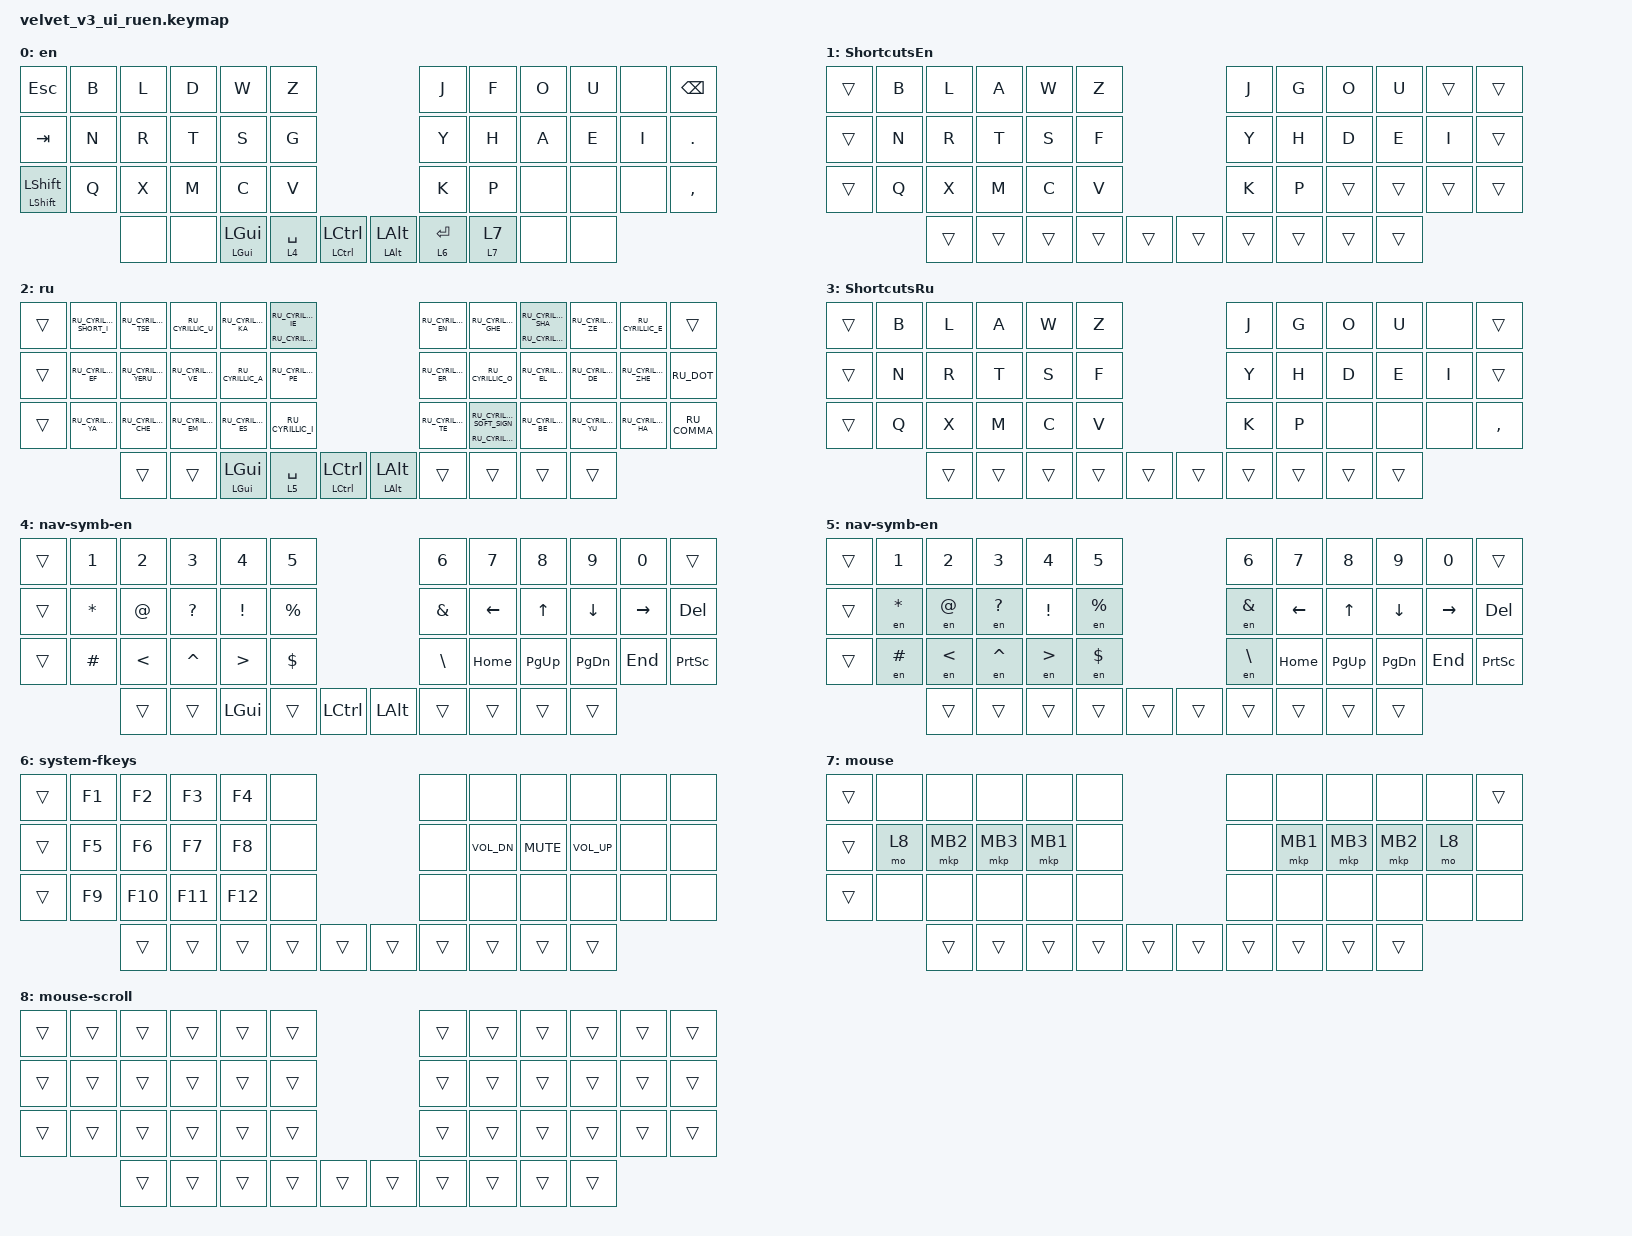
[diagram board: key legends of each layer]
#include "keys_ru.h"
#include <dt-bindings/zmk/input_transform.h>
#include <input/processors.dtsi>
#include <zephyr/dt-bindings/input/input-event-codes.h>
#include <behaviors.dtsi>
#include <dt-bindings/zmk/keys.h>
#include <dt-bindings/zmk/pointing.h>

&mt { flavor = "tap-preferred"; };

/ {
    behaviors {
        cap_sen: cap_sen {
            compatible = "zmk,behavior-hold-tap";
            label = "CAP_SEN";
            bindings = <&mo>, <&mo>;

            #binding-cells = <2>;
            tapping-term-ms = <150>;
            hold-while-undecided;
        };

        layer_off: layer_off {
            compatible = "zmk,behavior-toggle-layer";
            label = "LAYER_OFF";
            #binding-cells = <1>;
            toggle-mode = "off";
        };

        layer_on: layer_on {
            compatible = "zmk,behavior-toggle-layer";
            label = "LAYER_ON";
            #binding-cells = <1>;
        };

        key_on: key_on {
            compatible = "zmk,behavior-key-toggle";
            label = "KEY_ON";
            #binding-cells = <1>;
        };

        key_off: key_off {
            compatible = "zmk,behavior-key-toggle";
            label = "KEY_OFF";
            #binding-cells = <1>;
            toggle-mode = "off";
        };

        shrtct_ru: shrtct_ru {
            compatible = "zmk,behavior-hold-tap";
            label = "SHRTCT_RU";
            bindings = <&ml_ru>, <&sk_layer_ru>;

            #binding-cells = <2>;
            tapping-term-ms = <250>;
            require-prior-idle-ms = <20>;
            flavor = "balanced";
            hold-while-undecided;
        };

        shrtct_en: shrtct_en {
            compatible = "zmk,behavior-hold-tap";
            label = "SHRTCT_EN";
            bindings = <&ml_en>, <&sk_layer_en>;

            #binding-cells = <2>;
            tapping-term-ms = <250>;
            require-prior-idle-ms = <20>;
            flavor = "balanced";
            hold-while-undecided;
        };

        shft_stck: shft_stck {
            compatible = "zmk,behavior-sticky-key";
            label = "SHFT_STCK";
            bindings = <&kp>;
            #binding-cells = <1>;
            lazy;
            release-after-ms = <1000>;
            quick-release;
        };

        shift_dual: shift_dual {
            compatible = "zmk,behavior-hold-tap";
            label = "SHIFT_DUAL";
            bindings = <&kp>, <&shft_stck>;

            #binding-cells = <2>;
            tapping-term-ms = <150>;
            flavor = "tap-preferred";
        };

        sl_fast: sl_fast {
            compatible = "zmk,behavior-sticky-key";
            label = "SL_FAST";
            bindings = <&sl>;
            #binding-cells = <1>;
            release-after-ms = <150>;
            quick-release;
        };

        sk_fast: sk_fast {
            compatible = "zmk,behavior-sticky-key";
            label = "SK_FAST";
            bindings = <&kp>;
            #binding-cells = <1>;
            quick-release;
            release-after-ms = <150>;
        };
    };

    combos {
        compatible = "zmk,combos";

        Lang-En {
            bindings = <&layer_en>;
            key-positions = <2 3>;
            layers = <2>;
        };

        Lang-Ru {
            bindings = <&layer_ru>;
            key-positions = <2 3>;
            layers = <0>;
        };

        l-par {
            bindings = <&kp LPAR>;
            key-positions = <4 5>;
            layers = <0 1 2 3>;
        };

        r-par {
            bindings = <&kp RPAR>;
            key-positions = <7 6>;
            layers = <0 1 2 3>;
        };

        l-bracket {
            bindings = <&kp LBKT>;
            key-positions = <17 16>;
            layers = <0 1 3>;
        };

        r-bracket {
            bindings = <&kp RBKT>;
            key-positions = <19 18>;
            layers = <0 1 3>;
        };

        l-brace {
            bindings = <&kp LBRC>;
            key-positions = <28 29>;
            layers = <0 1 3>;
        };

        r-brace {
            bindings = <&kp RBRC>;
            key-positions = <31 30>;
            layers = <0 1 3>;
        };

        slash {
            bindings = <&kp SLASH>;
            key-positions = <3 4>;
            layers = <0 1 3>;
        };

        equals-plus {
            bindings = <&kp EQUAL>;
            key-positions = <16 15>;
            layers = <0 1 2 3>;
        };

        minus-underscore {
            bindings = <&kp MINUS>;
            key-positions = <7 8>;
            layers = <0 1 2 3>;
        };

        colon-semi {
            bindings = <&kp SEMI>;
            key-positions = <19 20>;
            layers = <0 1 3>;
        };

        grave-tilde {
            bindings = <&kp GRAVE>;
            key-positions = <27 28>;
            layers = <0 1>;
        };

        s-d-quote {
            bindings = <&kp SQT>;
            key-positions = <31 32>;
            layers = <0 1 3>;
        };

        ru-l-bracket {
            bindings = <&en LBKT>;
            key-positions = <17 16>;
            layers = <2>;
        };

        ru-r-bracket {
            bindings = <&en RIGHT_BRACKET>;
            key-positions = <19 18>;
            layers = <2>;
        };

        ru-l-brace {
            bindings = <&en LBRC>;
            key-positions = <28 29>;
            layers = <2>;
        };

        ru-r-brace {
            bindings = <&en RBRC>;
            key-positions = <31 30>;
            layers = <2>;
        };

        ru-slash {
            bindings = <&kp LS(BACKSLASH)>;
            key-positions = <3 4>;
            layers = <2>;
        };

        ru-colon-semi {
            bindings = <&en SEMI>;
            key-positions = <19 20>;
            layers = <2>;
        };

        ru-grave-tilde {
            bindings = <&en GRAVE>;
            key-positions = <27 28>;
            layers = <2 3>;
        };

        ru-s-d-quote {
            bindings = <&en SQT>;
            key-positions = <31 32>;
            layers = <2>;
        };
    };

    macros {
        to_ru: to_ru {
            compatible = "zmk,behavior-macro";
            #binding-cells = <0>;
            bindings = <&kp LS(LC(N2))>;
            label = "TO_RU";
        };

        to_en: to_en {
            compatible = "zmk,behavior-macro";
            #binding-cells = <0>;
            bindings = <&kp LS(LC(N1))>;
            label = "TO_EN";
        };

        layer_en: layer_en {
            compatible = "zmk,behavior-macro";
            #binding-cells = <0>;
            bindings = <&to 0 &to_en>;
            label = "LAYER_EN";
        };

        layer_ru: layer_ru {
            compatible = "zmk,behavior-macro";
            #binding-cells = <0>;
            bindings = <&to 2 &to_ru>;
            label = "LAYER_RU";
        };

        en: en {
            compatible = "zmk,behavior-macro-one-param";
            #binding-cells = <1>;
            bindings =
                <&macro_wait_time 30>,
                <&to_en>,
                <&macro_param_1to1 &kp MACRO_PLACEHOLDER>,
                <&macro_wait_time 10>,
                <&to_ru>,
                <&macro_wait_time 10>;

            label = "EN";
        };

        ml_en: ml_en {
            compatible = "zmk,behavior-macro-one-param";
            #binding-cells = <1>;
            bindings =
                <&macro_param_1to1 &key_on MACRO_PLACEHOLDER &layer_on 1>,
                <&macro_pause_for_release>,
                <&macro_param_1to1 &key_off MACRO_PLACEHOLDER &layer_off 1>;

            label = "Mod Layer En";
            wait-ms = <0>;
            tap-ms = <0>;
        };

        ml_ru: ml_ru {
            compatible = "zmk,behavior-macro-one-param";
            #binding-cells = <1>;
            bindings =
                <&macro_param_1to1 &key_on MACRO_PLACEHOLDER &layer_on 3>,
                <&macro_pause_for_release>,
                <&macro_param_1to1 &key_off MACRO_PLACEHOLDER &layer_off 3>;

            label = "Mod Layer Ru";
            wait-ms = <0>;
            tap-ms = <0>;
        };

        sk_layer_en: sk_layer_en {
            compatible = "zmk,behavior-macro-one-param";
            #binding-cells = <1>;
            bindings = <&macro_param_1to1 &sk_fast MACRO_PLACEHOLDER &sl_fast 1>;
            label = "SK_LAYER_EN";
            wait-ms = <0>;
            tap-ms = <0>;
        };

        sk_layer_ru: sk_layer_ru {
            compatible = "zmk,behavior-macro-one-param";
            #binding-cells = <1>;
            bindings = <&macro_param_1to1 &sk_fast MACRO_PLACEHOLDER &sl_fast 3>;
            label = "SK_LAYER_RU";
            wait-ms = <0>;
            tap-ms = <0>;
        };
    };

    keymap {
        compatible = "zmk,keymap";

        English {
            bindings = <
&kp ESC                  &kp B  &kp L  &kp D  &kp W                 &kp Z                                                        &kp J        &kp F         &kp O  &kp U  &none  &kp BSPC
&kp TAB                  &kp N  &kp R  &kp T  &kp S                 &kp G                                                        &kp Y        &kp H         &kp A  &kp E  &kp I  &kp DOT
&shift_dual LSHFT LSHFT  &kp Q  &kp X  &kp M  &kp C                 &kp V                                                        &kp K        &kp P         &none  &none  &none  &kp COMMA
                                &none  &none  &shrtct_en LGUI LGUI  &lt 4 SPACE  &shrtct_en LCTRL LCTRL    &shrtct_en LALT LALT  &lt 6 ENTER  &cap_sen 7 7  &none  &none
            >;

            display-name = "en";
        };

        ShortcutsEn {
            bindings = <
&trans  &kp B  &kp L   &kp A   &kp W   &kp Z                     &kp J   &kp G   &kp O   &kp U   &trans  &trans
&trans  &kp N  &kp R   &kp T   &kp S   &kp F                     &kp Y   &kp H   &kp D   &kp E   &kp I   &trans
&trans  &kp Q  &kp X   &kp M   &kp C   &kp V                     &kp K   &kp P   &trans  &trans  &trans  &trans
               &trans  &trans  &trans  &trans  &trans    &trans  &trans  &trans  &trans  &trans
            >;
        };

        Russian {
            display-name = "ru";
            bindings = <
&trans  &kp RU_CYRILLIC_SHORT_I  &kp RU_CYRILLIC_TSE   &kp RU_CYRILLIC_U   &kp RU_CYRILLIC_KA    &mt RU_CYRILLIC_IO RU_CYRILLIC_IE                                                  &kp RU_CYRILLIC_EN  &kp RU_CYRILLIC_GHE                              &mt RU_CYRILLIC_SHCHA RU_CYRILLIC_SHA  &kp RU_CYRILLIC_ZE  &kp RU_CYRILLIC_E    &trans
&trans  &kp RU_CYRILLIC_EF       &kp RU_CYRILLIC_YERU  &kp RU_CYRILLIC_VE  &kp RU_CYRILLIC_A     &kp RU_CYRILLIC_PE                                                                 &kp RU_CYRILLIC_ER  &kp RU_CYRILLIC_O                                &kp RU_CYRILLIC_EL                     &kp RU_CYRILLIC_DE  &kp RU_CYRILLIC_ZHE  &kp RU_DOT
&trans  &kp RU_CYRILLIC_YA       &kp RU_CYRILLIC_CHE   &kp RU_CYRILLIC_EM  &kp RU_CYRILLIC_ES    &kp RU_CYRILLIC_I                                                                  &kp RU_CYRILLIC_TE  &mt RU_CYRILLIC_HARD_SIGN RU_CYRILLIC_SOFT_SIGN  &kp RU_CYRILLIC_BE                     &kp RU_CYRILLIC_YU  &kp RU_CYRILLIC_HA   &kp RU_COMMA
                                 &trans                &trans              &shrtct_ru LGUI LGUI  &lt 5 SPACE                        &shrtct_ru LCTRL LCTRL    &shrtct_ru LALT LALT  &trans              &trans                                           &trans                                 &trans
            >;
        };

        ShortcutsRu {
            bindings = <
&trans  &kp B  &kp L   &kp A   &kp W   &kp Z                     &kp J   &kp G   &kp O   &kp U   &none  &trans
&trans  &kp N  &kp R   &kp T   &kp S   &kp F                     &kp Y   &kp H   &kp D   &kp E   &kp I  &trans
&trans  &kp Q  &kp X   &kp M   &kp C   &kp V                     &kp K   &kp P   &none   &none   &none  &kp COMMA
               &trans  &trans  &trans  &trans  &trans    &trans  &trans  &trans  &trans  &trans
            >;
        };

        NavigationAndSymbolsEn {
            bindings = <
&trans  &kp N1     &kp N2  &kp N3     &kp N4    &kp N5                              &kp N6    &kp N7    &kp N8     &kp N9     &kp N0     &trans
&trans  &kp ASTRK  &kp AT  &kp QMARK  &kp EXCL  &kp PERCENT                         &kp AMPS  &kp LEFT  &kp UP     &kp DOWN   &kp RIGHT  &kp DELETE
&trans  &kp HASH   &kp LT  &kp CARET  &kp GT    &kp DOLLAR                          &kp BSLH  &kp HOME  &kp PG_UP  &kp PG_DN  &kp END    &kp PSCRN
                   &trans  &trans     &kp LGUI  &trans       &kp LCTRL    &kp LALT  &trans    &trans    &trans     &trans
            >;

            display-name = "nav-symb-en";
            label = "nav-sym-en";
        };

        NavigationAndSymbolsRu {
            label = "nav-sym-ru";
            display-name = "nav-symb-en";
            bindings = <
&trans  &kp N1     &kp N2  &kp N3     &kp N4    &kp N5                        &kp N6    &kp N7    &kp N8     &kp N9     &kp N0     &trans
&trans  &en ASTRK  &en AT  &en QMARK  &kp EXCL  &en PRCNT                     &en AMPS  &kp LEFT  &kp UP     &kp DOWN   &kp RIGHT  &kp DELETE
&trans  &en HASH   &en LT  &en CARET  &en GT    &en DOLLAR                    &en BSLH  &kp HOME  &kp PG_UP  &kp PG_DN  &kp END    &kp PSCRN
                   &trans  &trans     &trans    &trans      &trans    &trans  &trans    &trans    &trans     &trans
            >;
        };

        SystemAndFKeys {
            bindings = <
&trans  &kp F1  &kp F2   &kp F3   &kp F4   &none                     &none   &none         &none       &none         &none  &none
&trans  &kp F5  &kp F6   &kp F7   &kp F8   &none                     &none   &kp C_VOL_DN  &kp K_MUTE  &kp C_VOL_UP  &none  &none
&trans  &kp F9  &kp F10  &kp F11  &kp F12  &none                     &none   &none         &none       &none         &none  &none
                &trans   &trans   &trans   &trans  &trans    &trans  &trans  &trans        &trans      &trans
            >;

            display-name = "system-fkeys";
        };

        Mouse {
            bindings = <
&trans  &none  &none     &none     &none     &none                     &none   &none     &none     &none     &none  &trans
&trans  &mo 8  &mkp MB2  &mkp MB3  &mkp MB1  &none                     &none   &mkp MB1  &mkp MB3  &mkp MB2  &mo 8  &none
&trans  &none  &none     &none     &none     &none                     &none   &none     &none     &none     &none  &none
               &trans    &trans    &trans    &trans  &trans    &trans  &trans  &trans    &trans    &trans
            >;

            label = "mouse";
        };

        Scroll {
            bindings = <
&trans  &trans  &trans  &trans  &trans  &trans                    &trans  &trans  &trans  &trans  &trans  &trans
&trans  &trans  &trans  &trans  &trans  &trans                    &trans  &trans  &trans  &trans  &trans  &trans
&trans  &trans  &trans  &trans  &trans  &trans                    &trans  &trans  &trans  &trans  &trans  &trans
                &trans  &trans  &trans  &trans  &trans    &trans  &trans  &trans  &trans  &trans
            >;

            label = "mouse-scroll";
        };
    };
};

&trackball { cpi = <1000>; };

&trackball_listener {
    input-processors = <&zip_xy_scaler 9 20>;

    scroller {
        layers = <7>;
        input-processors =
            <&zip_xy_transform INPUT_TRANSFORM_Y_INVERT>,
            <&zip_xy_scaler 1 32>,
            <&zip_xy_to_scroll_mapper>;
    };

    sniper {
        layers = <8>;
        input-processors = <&zip_xy_scaler 1 4>;
    };
};
